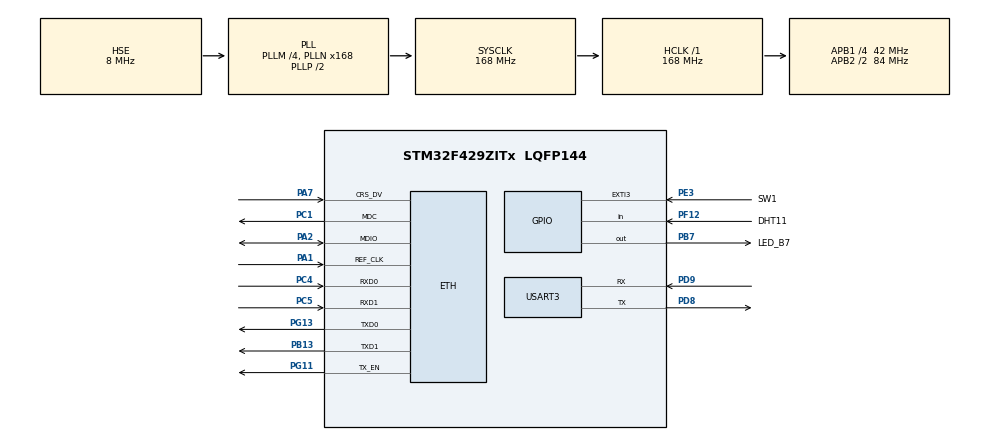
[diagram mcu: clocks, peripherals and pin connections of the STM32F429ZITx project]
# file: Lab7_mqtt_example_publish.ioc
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ETH.MACAddr=00\:80\:E1\:CD\:FF\:AD
ETH.MediaInterface=HAL_ETH_RMII_MODE
FREERTOS.Tasks01=defaultTask,24,128,StartDefaultTask,Default,NULL,Dynamic,NULL,NULL
FREERTOS.configTOTAL_HEAP_SIZE=25360
LWIP.BSP.number=1
LWIP.MEMP_NUM_SYS_TIMEOUT=13
LWIP.MEM_SIZE=10*1024
LWIP.Version=v2.1.2_Cube
LWIP0.BSP.STBoard=false
LWIP0.BSP.api=BSP_COMPONENT_DRIVER
LWIP0.BSP.component=LAN8742
LWIP0.BSP.instance=LAN8742
LWIP0.BSP.name=Driver_PHY
LWIP0.BSP.semaphore=S_LAN8742
LWIP0.BSP.solution=LAN8742
Mcu.Family=STM32F4
Mcu.Name=STM32F429ZITx
Mcu.Package=LQFP144
NVIC.ETH_IRQn=true\:5\:0\:false\:false\:true\:true\:false\:true\:true
NVIC.EXTI3_IRQn=true\:5\:0\:true\:false\:true\:true\:true\:true\:true
NVIC.PriorityGroup=NVIC_PRIORITYGROUP_4
NVIC.TIM1_UP_TIM10_IRQn=true\:15\:0\:false\:false\:true\:false\:false\:true\:true
NVIC.TimeBase=TIM1_UP_TIM10_IRQn
NVIC.TimeBaseIP=TIM1
PA1.Mode=RMII
PA1.Signal=ETH_REF_CLK
PA13.Mode=Serial_Wire
PA13.Signal=SYS_JTMS-SWDIO
PA14.Mode=Serial_Wire
PA14.Signal=SYS_JTCK-SWCLK
PA2.Mode=RMII
PA2.Signal=ETH_MDIO
PA7.Mode=RMII
PA7.Signal=ETH_CRS_DV
PB13.Mode=RMII
PB13.Signal=ETH_TXD1
PB7.GPIO_Label=LED_B7
PB7.Signal=GPIO_Output
PC1.Mode=RMII
PC1.Signal=ETH_MDC
PC14/OSC32_IN.Mode=LSE-External-Oscillator
PC14/OSC32_IN.Signal=RCC_OSC32_IN
PC15/OSC32_OUT.Mode=LSE-External-Oscillator
PC15/OSC32_OUT.Signal=RCC_OSC32_OUT
PC4.Mode=RMII
PC4.Signal=ETH_RXD0
PC5.Mode=RMII
PC5.Signal=ETH_RXD1
PD8.Mode=Asynchronous
PD8.Signal=USART3_TX
PD9.Mode=Asynchronous
PD9.Signal=USART3_RX
PE3.GPIO_Label=SW1
PE3.Signal=GPXTI3
PF12.GPIO_Label=DHT11
PF12.Signal=GPIO_Input
PG11.Mode=RMII
PG11.Signal=ETH_TX_EN
PG13.Mode=RMII
PG13.Signal=ETH_TXD0
PH0/OSC_IN.Mode=HSE-External-Oscillator
PH0/OSC_IN.Signal=RCC_OSC_IN
PH1/OSC_OUT.Mode=HSE-External-Oscillator
PH1/OSC_OUT.Signal=RCC_OSC_OUT
ProjectManager.HeapSize=0x200
ProjectManager.StackSize=0x400
ProjectManager.TargetToolchain=MDK-ARM V5.32
RCC.48MHZClocksFreq_Value=48000000
RCC.AHBFreq_Value=168000000
RCC.APB1CLKDivider=RCC_HCLK_DIV4
RCC.APB1Freq_Value=42000000
RCC.APB1TimFreq_Value=84000000
RCC.APB2CLKDivider=RCC_HCLK_DIV2
RCC.APB2Freq_Value=84000000
RCC.APB2TimCLKDivider=2
RCC.APB2TimFreq_Value=168000000
RCC.CortexFreq_Value=168000000
RCC.HCLKFreq_Value=168000000
RCC.HSE_VALUE=8000000
RCC.HSI_VALUE=16000000
RCC.PLLM=4
RCC.PLLMUL=RCC_PLL_MUL9
RCC.PLLN=168
RCC.PLLQ=7
RCC.PLLSourceVirtual=RCC_PLLSOURCE_HSE
RCC.PRESCALERUSB=RCC_USBCLKSOURCE_PLL_DIV1_5
RCC.SYSCLKFreq_VALUE=168000000
RCC.SYSCLKSource=RCC_SYSCLKSOURCE_PLLCLK
RCC.SYSCLKSourceVirtual=RCC_SYSCLKSOURCE_PLLCLK
RCC.USBFreq_Value=48000000
RCC.VCOOutputFreq_Value=336000000
TIM2.Prescaler=83
USART3.VirtualMode=VM_ASYNC
VP_FREERTOS_VS_CMSIS_V2.Mode=CMSIS_V2
VP_LWIP_VS_Enabled.Mode=Enabled
VP_SYS_VS_tim1.Mode=TIM1
VP_TIM2_VS_ClockSourceINT.Mode=Internal
board=NUCLEO-F429ZI

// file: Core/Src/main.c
/* USER CODE BEGIN Header */
/**
  ******************************************************************************
  * @file           : main.c
  * @brief          : Main program body
  ******************************************************************************
  * @attention
  *
  * Copyright (c) 2025 STMicroelectronics.
  * All rights reserved.
  *
  * This software is licensed under terms that can be found in the LICENSE file
  * in the root directory of this software component.
  * If no LICENSE file comes with this software, it is provided AS-IS.
  *
  ******************************************************************************
  */
/* USER CODE END Header */
#include "main.h"
#include "cmsis_os.h"
#include "lwip.h"
#include "tim.h"
#include "usart.h"
#include "gpio.h"

/* USER CODE BEGIN Includes */
#include "lwip/apps/mqtt.h"
#include "FreeRTOS.h"
#include "queue.h"
#include "semphr.h"
#include "string.h"
#include "stdbool.h"
#include "task.h"
#include "dht11.h"
/* USER CODE END Includes */

/* USER CODE BEGIN PV */
mqtt_client_t *mqttClient = NULL;

QueueHandle_t queueSwitch;

SemaphoreHandle_t xSemMqttReconnect;
TaskHandle_t handleMQTT;
TaskHandle_t handlePublish;
TaskHandle_t handleControl;
TaskHandle_t handleDHT11;
/* USER CODE END PV */

void SystemClock_Config(void);
void MX_FREERTOS_Init(void);
/* USER CODE BEGIN PFP */
void mqtt_connection_cb(mqtt_client_t *mqttClient, void *arg, mqtt_connection_status_t status);
void mqtt_pub_request_cb(void *arg, err_t result);
void taskMQTT(void *pvParameters);
void taskPublish(void *pvParameters);
void taskControll(void *pvParameters);

void HAL_GPIO_EXTI_Callback(uint16_t GPIO_Pin);
/* USER CODE END PFP */

/* USER CODE BEGIN 0 */

/*
 * MQTT Callback Functions
 */
struct dht11
{
    float Temp;
    float Humi;
};
struct dht11 dht11DATA;
// Connection status callback
void mqtt_connection_cb(mqtt_client_t *mqttClient, void *arg, mqtt_connection_status_t status){
  if (status == MQTT_CONNECT_ACCEPTED){
    printf("MQTT connected successfully!\r\n");
    HAL_GPIO_WritePin(LED_B7_GPIO_Port, LED_B7_Pin, GPIO_PIN_SET);
  }else{
    HAL_GPIO_WritePin(LED_B7_GPIO_Port, LED_B7_Pin, GPIO_PIN_RESET);
    printf("MQTT connection failed! Error code: %d\r\n", status);

    xSemaphoreGive(xSemMqttReconnect);
  }
}

// Publish request callback
void mqtt_pub_request_cb(void *arg, err_t result){
  if (result != ERR_OK){
    printf("Publish result: %d\r\n", result);
  }
}

/*
 * Task
 */

// MQTT initial task
void taskMQTT(void *pvParameters){
	printf("Before LWIP_Init\n");
	vTaskDelay(3000);
  MX_LWIP_Init();

  mqttClient = mqtt_client_new();

  struct mqtt_connect_client_info_t mqtt_connect_info = {
    .client_id = "M11317045_A",
    .client_user = "raymiao",
    .client_pass = "548787",
    .keep_alive = 20,
    .will_topic = "Lab7/Last_will",
    .will_msg = "Goodbye client_A!",
    .will_qos = 0,
    .will_retain = 0
  };

  ip_addr_t mqttBrokerAddr;
  IP_ADDR4(&mqttBrokerAddr, 140, 125, 33, 185);

  err_t connectResult;
  while(1){
    if (!mqtt_client_is_connected(mqttClient)){
      connectResult = mqtt_client_connect(mqttClient, &mqttBrokerAddr, MQTT_PORT,
                                               mqtt_connection_cb, NULL, &mqtt_connect_info);

      if (connectResult != ERR_OK){
        printf("MQTT connect returned error: %d\r\n", connectResult);
        if (connectResult == ERR_ISCONN) {
          mqtt_disconnect(mqttClient);
        }
      }
    } else{
      xSemaphoreTake(xSemMqttReconnect, portMAX_DELAY);
    }
    vTaskDelay(1000);
  }
}

// Control switch task
void taskControll(void *pvParameters){
  uint8_t switchMode = 9;
  char message[10];
  bool LED_Status = true;

  while(1){
    xQueueReceive(queueSwitch, &switchMode, portMAX_DELAY);

    switch (switchMode){
      case 0:
        if (LED_Status == true){
          strcpy(message, "On");
          LED_Status = false;
        } else{
          strcpy(message, "Off");
          LED_Status = true;
        }

        mqtt_publish(mqttClient, "Lab7/LED", message, strlen(message), 0, 0, NULL, NULL);
        break;
    }
  }
}

// Publish count task
void taskPublish(void *pvParameters){
  int count = 0;
  char message[10];

  while(1){
    if (mqtt_client_is_connected(mqttClient)){
      count++;
      snprintf(message, sizeof(message), "%d", count);

      mqtt_publish(mqttClient, "Lab7/Count", message, strlen(message), 0, 0, NULL, NULL);
    }

    vTaskDelay(1000);
  }
}

void taskDHT11(void *pvParm)
{
	  char temp[10];
		char humi[10];
		char led[10];
    while (1)
    {
				printf("DHT11 Task\n");
        if (DHT11GetData(&dht11DATA.Humi, &dht11DATA.Temp) == 0)
        {
						printf("Get DHT11 Data successfully\n");
           //xQueueSend(queueDHT11, &dht11DATA, NULL);
        }

        vTaskDelay(3000);
    }
}

void taskTest(void *pvParm)
{
	while(1) {
		printf("In Test\r\n");
		vTaskDelay(1000);
	}
}
void taskTest2(void *pvParm){

	while(1){
		printf("In test2\r\n");
		vTaskDelay(1000 / portTICK_RATE_MS);
	}
}
void HAL_GPIO_EXTI_Callback(uint16_t GPIO_Pin){
  static uint8_t mode = 0;

  switch (GPIO_Pin){
    case GPIO_PIN_3:
      if (HAL_GPIO_ReadPin(SW1_GPIO_Port, SW1_Pin) == 1){
        mode = 0;
        xQueueSendFromISR(queueSwitch, &mode, NULL);
      }
      break;
  }
}

/* USER CODE END 0 */

int main(void)
{

  /* MCU Configuration--------------------------------------------------------*/

  /* Reset of all peripherals, Initializes the Flash interface and the Systick. */
  HAL_Init();

  /* Configure the system clock */
  SystemClock_Config();

  /* Initialize all configured peripherals */
  MX_GPIO_Init();
  MX_USART3_UART_Init();
  MX_TIM2_Init();
  /* USER CODE BEGIN 2 */
  xSemMqttReconnect = xSemaphoreCreateBinary();
  queueSwitch = xQueueCreate(3, sizeof(uint8_t));

  //xTaskCreate(taskMQTT, "MQTT init", 1024, NULL, 4, &handleMQTT);
  //xTaskCreate(taskControll, "Control switch", 256, NULL, 2, &handleControl);
  //xTaskCreate(taskPublish, "Publish", 256, NULL, 1, &handlePublish);
	//xTaskCreate(taskDHT11, "DHT", 256, NULL, 4, &handleDHT11);
	xTaskCreate(taskTest, "Test", 256, NULL, 3, NULL);
	xTaskCreate(taskTest2, "Test2", 256, NULL, 4, NULL);

  printf("A_StartScheduler \r\n");
	vTaskStartScheduler();
  /* USER CODE END 2 */

  /* Init scheduler */
  osKernelInitialize();  /* Call init function for freertos objects (in freertos.c) */
  MX_FREERTOS_Init();

  /* Start scheduler */
  osKernelStart();

  /* We should never get here as control is now taken by the scheduler */
  /* Infinite loop */
  while (1)
  {

  }
}

void SystemClock_Config(void)
{
  RCC_OscInitTypeDef RCC_OscInitStruct = {0};
  RCC_ClkInitTypeDef RCC_ClkInitStruct = {0};

  /** Configure the main internal regulator output voltage
  */
  __HAL_RCC_PWR_CLK_ENABLE();
  __HAL_PWR_VOLTAGESCALING_CONFIG(PWR_REGULATOR_VOLTAGE_SCALE1);

  /** Initializes the RCC Oscillators according to the specified parameters
  * in the RCC_OscInitTypeDef structure.
  */
  RCC_OscInitStruct.OscillatorType = RCC_OSCILLATORTYPE_HSE;
  RCC_OscInitStruct.HSEState = RCC_HSE_ON;
  RCC_OscInitStruct.PLL.PLLState = RCC_PLL_ON;
  RCC_OscInitStruct.PLL.PLLSource = RCC_PLLSOURCE_HSE;
  RCC_OscInitStruct.PLL.PLLM = 4;
  RCC_OscInitStruct.PLL.PLLN = 168;
  RCC_OscInitStruct.PLL.PLLP = RCC_PLLP_DIV2;
  RCC_OscInitStruct.PLL.PLLQ = 7;
  if (HAL_RCC_OscConfig(&RCC_OscInitStruct) != HAL_OK)
  {
    Error_Handler();
  }

  /** Initializes the CPU, AHB and APB buses clocks
  */
  RCC_ClkInitStruct.ClockType = RCC_CLOCKTYPE_HCLK|RCC_CLOCKTYPE_SYSCLK
                              |RCC_CLOCKTYPE_PCLK1|RCC_CLOCKTYPE_PCLK2;
  RCC_ClkInitStruct.SYSCLKSource = RCC_SYSCLKSOURCE_PLLCLK;
  RCC_ClkInitStruct.AHBCLKDivider = RCC_SYSCLK_DIV1;
  RCC_ClkInitStruct.APB1CLKDivider = RCC_HCLK_DIV4;
  RCC_ClkInitStruct.APB2CLKDivider = RCC_HCLK_DIV2;

  if (HAL_RCC_ClockConfig(&RCC_ClkInitStruct, FLASH_LATENCY_5) != HAL_OK)
  {
    Error_Handler();
  }
}

void HAL_TIM_PeriodElapsedCallback(TIM_HandleTypeDef *htim)
{
  if (htim->Instance == TIM1) {
    HAL_IncTick();
  }
}

void Error_Handler(void)
{
  __disable_irq();
  while (1)
  {
  }
}
